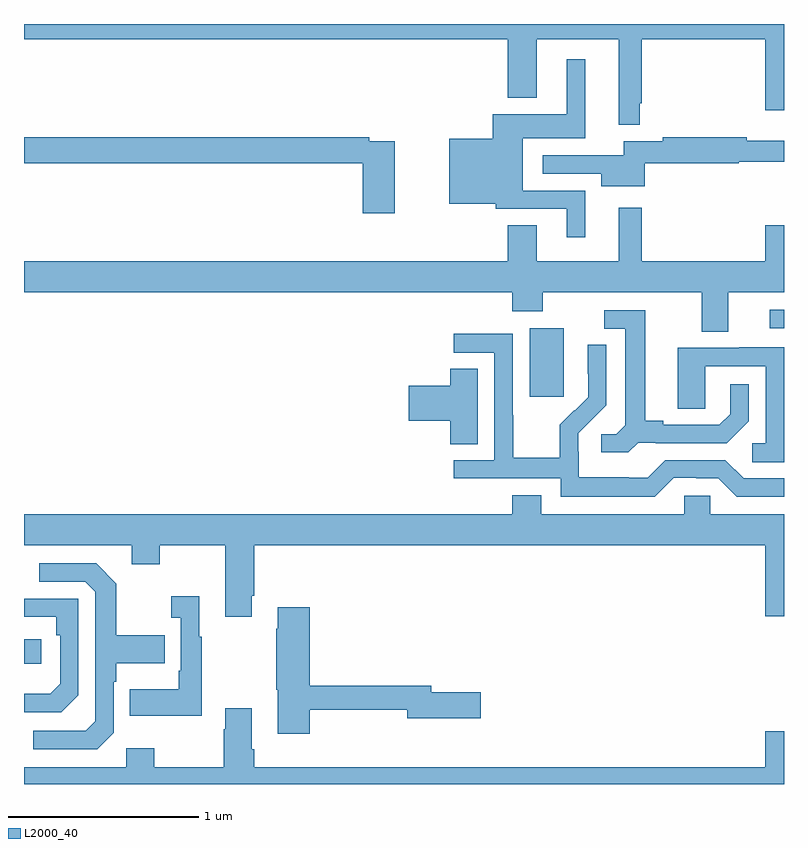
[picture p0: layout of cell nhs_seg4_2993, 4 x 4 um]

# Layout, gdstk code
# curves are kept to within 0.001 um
import gdstk
lib = gdstk.Library(unit=1e-6, precision=1e-09)
def R(c, l, rs):  # rectangles x0, y0, x1, y1
    for r in rs: c.add(gdstk.rectangle(r[:2], r[2:], *l))
def P(c, l, *ps):  # polygons
    for p in ps: c.add(gdstk.Polygon(p, *l))
L2000_40 = (2000, 40)

nhs_seg4_2993 = lib.new_cell('nhs_seg4_2993')
R(nhs_seg4_2993, L2000_40, [(269,793.532,269.092,793.662), (271.661,794.937,271.84,795.298), (272.925,795.3,273,795.396)])
P(nhs_seg4_2993, L2000_40, [(272.24,796.483),(272.251,796.483),(272.251,796.82),(272.9,796.82),(272.9,796.446),(273,796.446),(273,796.9),(269,796.9),(269,796.82),(271.547,796.82),(271.547,796.511),(271.699,796.511),(271.699,796.82),(272.129,796.82),(272.129,796.371),(272.24,796.371)],
  [(271.954,796.023),(271.624,796.023),(271.624,796.298),(271.954,796.298),(271.954,796.714),(271.856,796.714),(271.856,796.426),(271.466,796.426),(271.466,796.297),(271.238,796.297),(271.238,795.953),(271.482,795.953),(271.482,795.927),(271.856,795.927),(271.856,795.777),(271.954,795.777)],
  [(270.952,796.284),(270.818,796.284),(270.818,796.304),(269,796.304),(269,796.168),(270.782,796.168),(270.782,795.903),(270.952,795.903)],
  [(272.266,796.168),(272.762,796.168),(272.762,796.176),(273,796.176),(273,796.285),(272.804,796.285),(272.804,796.304),(272.362,796.304),(272.362,796.284),(272.156,796.284),(272.156,796.209),(271.731,796.209),(271.731,796.113),(272.039,796.113),(272.039,796.046),(272.266,796.046)],
  [(272.707,795.488),(273,795.488),(273,795.841),(272.9,795.841),(272.9,795.652),(272.251,795.652),(272.251,795.934),(272.129,795.934),(272.129,795.652),(271.699,795.652),(271.699,795.842),(271.547,795.842),(271.547,795.652),(269,795.652),(269,795.488),(271.571,795.488),(271.571,795.389),(271.731,795.389),(271.731,795.488),(272.567,795.488),(272.567,795.28),(272.707,795.28)],
  [(272.232,794.697),(272.326,794.697),(272.326,794.694),(272.698,794.694),(272.814,794.81),(272.814,795.004),(272.717,795.004),(272.717,794.847),(272.66,794.79),(272.365,794.79),(272.365,794.813),(272.269,794.813),(272.269,795.393),(272.055,795.393),(272.055,795.297),(272.165,795.297),(272.165,794.789),(272.118,794.742),(272.037,794.742),(272.037,794.645),(272.18,794.645)],
  [(272.421,794.511),(272.537,794.511),(272.537,794.508),(272.655,794.508),(272.751,794.412),(273,794.412),(273,794.508),(272.787,794.508),(272.691,794.604),(272.376,794.604),(272.283,794.511),(272.183,794.511),(272.183,794.515),(271.92,794.515),(271.92,794.649),(271.918,794.649),(271.918,794.746),(272.064,794.894),(272.064,795.212),(271.968,795.212),(271.968,795.058),(271.97,795.058),(271.97,794.936),(271.899,794.865),(271.896,794.868),(271.819,794.791),(271.819,794.617),(271.575,794.617),(271.575,794.84),(271.572,794.84),(271.572,795.27),(271.263,795.27),(271.263,795.171),(271.476,795.171),(271.476,794.604),(271.263,794.604),(271.263,794.508),(271.824,794.508),(271.824,794.411),(272.321,794.411)],
  [(273,795.199),(272.765,795.199),(272.765,795.195),(272.441,795.195),(272.441,794.875),(272.586,794.875),(272.586,795.099),(272.904,795.099),(272.904,794.694),(272.832,794.694),(272.832,794.593),(273,794.593)],
  [(271.387,795.086),(271.244,795.086),(271.244,794.996),(271.026,794.996),(271.026,794.813),(271.244,794.813),(271.244,794.689),(271.387,794.689)],
  [(270.199,793.891),(270.212,793.891),(270.212,794.156),(272.9,794.156),(272.9,793.782),(273,793.782),(273,794.32),(272.613,794.32),(272.613,794.418),(272.475,794.418),(272.475,794.32),(271.723,794.32),(271.723,794.419),(271.571,794.419),(271.571,794.32),(269,794.32),(269,794.156),(269.567,794.156),(269.567,794.057),(269.715,794.057),(269.715,794.156),(270.059,794.156),(270.059,793.779),(270.199,793.779)],
  [(269.472,793.17),(269.472,793.439),(269.485,793.439),(269.485,793.535),(269.741,793.535),(269.741,793.683),(269.485,793.683),(269.485,793.955),(269.379,794.061),(269.079,794.061),(269.079,793.965),(269.322,793.965),(269.376,793.911),(269.376,793.23),(269.325,793.179),(269.049,793.179),(269.049,793.083),(269.385,793.083)],
  [(269.935,793.675),(269.923,793.675),(269.923,793.888),(269.775,793.888),(269.775,793.775),(269.826,793.775),(269.826,793.495),(269.814,793.495),(269.814,793.399),(269.557,793.399),(269.557,793.259),(269.935,793.259)],
  [(269.286,793.368),(269.286,793.875),(269,793.875),(269,793.779),(269.17,793.779),(269.17,793.682),(269.19,793.682),(269.19,793.428),(269.137,793.375),(269,793.375),(269,793.278),(269.196,793.278)],
  [(270.503,793.29),(271.016,793.29),(271.016,793.247),(271.405,793.247),(271.405,793.382),(271.144,793.382),(271.144,793.418),(270.503,793.418),(270.503,793.831),(270.335,793.831),(270.335,793.718),(270.328,793.718),(270.328,793.395),(270.335,793.395),(270.335,793.164),(270.503,793.164)],
  [(273,793.177),(272.9,793.177),(272.9,792.988),(270.212,792.988),(270.212,793.084),(270.199,793.084),(270.199,793.3),(270.059,793.3),(270.059,793.187),(270.052,793.187),(270.052,792.988),(269.685,792.988),(269.685,793.087),(269.538,793.087),(269.538,792.988),(269,792.988),(269,792.9),(273,792.9)])

lib.write_gds('nhs_seg4_2993.gds')
